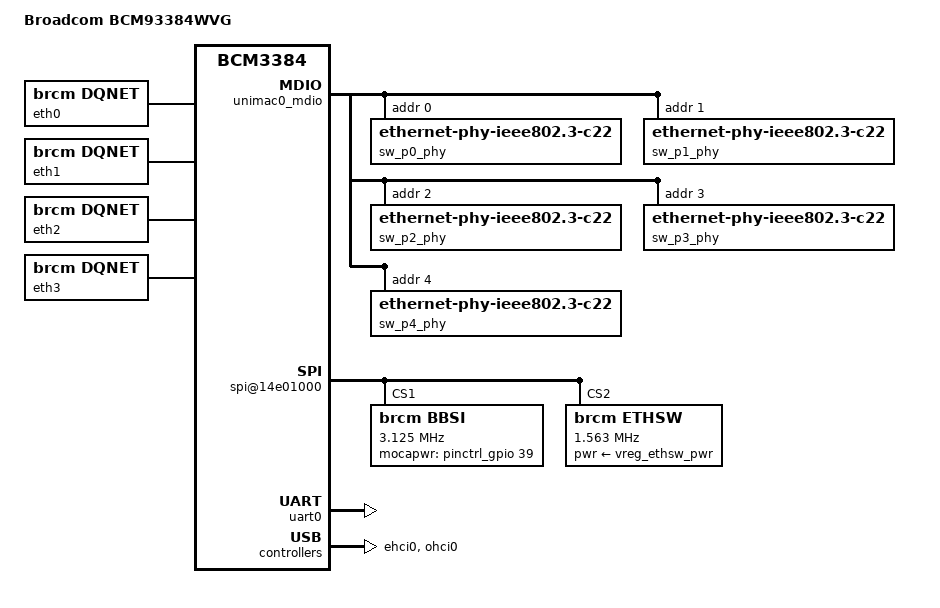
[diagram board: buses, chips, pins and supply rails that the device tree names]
/dts-v1/;

/include/ "bcm3384_zephyr.dtsi"

/ {
	compatible = "brcm,bcm93384wvg", "brcm,bcm3384";
	model = "Broadcom BCM93384WVG";
	subsystem = "rg_2nd_core";

	chosen {
		bootargs = "console=ttyS0,115200";
		stdout-path = &uart0;
	};
	board_id {
		product_name = "BCM93384PON";
	};
};

&uart0 {
	status = "okay";
};

&ehci0 {
	status = "okay";
};

&ohci0 {
	status = "okay";
};

/include/ "bcm3384pon_zephyr.dtsi"

/ {
	pinctrl_gpio: pinctrl_gpio@14e00100 {
		pinctrl-0 = <&slic_spi &wifi_pwr_ctrl
			     &mocapwr &bmoca_int &mocaflwctrl &pon_rgmii
			     &ethsw_mdio &ethsw_rgmii &ethsw_spi &ethsw_pwr_ctrl>;
		slic_spi: slic_spi {
			brcm,pins = <1>;
			brcm,function = <1>; /* SPIM_SS3_B for Si32392 */
		};
		mocapwr: mocapwr {
			brcm,pins = <39>;
			brcm,function = <5>; /* GPIO */
		};
		pon_rgmii: pon_rgmii {
			brcm,pins = <54 55 56 57 58 59 60 61 62 63 64 65>;
			brcm,function = <1>; /* RGMII1 */
		};
		ethsw_mdio: ethsw_mdio {
			brcm,pins = <66 67>;
			brcm,function = <1>; /* RGMII0_MDC/MDIO */
		};
		ethsw_rgmii: ethsw_rgmii {
			brcm,pins = <42 43 44 45 46 47 48 49 50 51 52 53>;
			brcm,function = <1>; /* RGMII0 */
		};
	};

	wifi_wps@0 {
		led0-gpio = <&pinctrl_gpio 6 1>;
		led1-gpio = <&pinctrl_gpio 7 1>;
	};

	unimac0: unimac@12c00000 {
		mbdma_channel0_rx_macid = <0>;
		mbdma_channel0_tx_macid = <0>;
		mbdma_channel1_rx_macid = <1>;
		mbdma_channel1_tx_macid = <1>;
		rgmii_id_mode_disable = <1>;
		tx_clk_dly = <4>;
		rx_clk_dly = <4>;
	};

	unimac1: unimac@12c02000 {
		rgmii_id_mode_disable = <0>;
		tx_clk_dly = <8>;
		rx_clk_dly = <8>;
	};

	gfap@13c00000 {
		switch_data_mac = <0x0>;
	};


	unimac0_mdio: mdio@12c00600 {
		compatible = "brcm,unimac-mdio";
		dev-name = "UniMAC MII bus";
		reg = <0x12c0062c 0x4>,
		      <0x12c00600 0x4>;
		use-external-phy;
		reg-names = "unimac0_mdio";
		#size-cells = <1>;
		#address-cells = <1>;
		/*
		 * Below are all possible phy's on the
		 * external switch chips supported. However, since the
		 * chips may or may not have the associated port & phy
		 * bonded out of the chip (i.e. the 53124 does not have
		 * port 0 bonded out) then they might not all be used.
		 * 53124 used sw_p1_phy..sw_p4_phy while 53134 uses
		 * sw_phy0_phy..sw_p3_phy.
		 */
		sw_p0_phy: phy@0 {
			compatible = "ethernet-phy-ieee802.3-c22";
			reg = <0>;
			phy-mode = "rgmii";
		};
		sw_p1_phy: phy@1 {
			compatible = "ethernet-phy-ieee802.3-c22";
			reg = <1>;
			phy-mode = "rgmii";
		};
		sw_p2_phy: phy@2 {
			compatible = "ethernet-phy-ieee802.3-c22";
			reg = <2>;
			phy-mode = "rgmii";
		};
		sw_p3_phy: phy@3 {
			compatible = "ethernet-phy-ieee802.3-c22";
			reg = <3>;
			phy-mode = "rgmii";
		};
		sw_p4_phy: phy@4 {
			compatible = "ethernet-phy-ieee802.3-c22";
			reg = <4>;
			phy-mode = "rgmii";
		};
	};

	spi@14e01000 {
		compatible = "brcm,bcm6328-hsspi";
		reg = <0x14e01000 0x7ff>,
		      <0x104b00fc 0x8>;
		interrupts = <5>;
		interrupt-parent = <&periph_intc>;
		clocks = <&hsspi_clock>;
		clock-names = "hsspi";
		#address-cells = <1>;
		#size-cells = <0>;

		bbsi@1  {
			reg = <1>;
			compatible = "brcm,bbsi";
			spi-max-frequency = <3125000>;
			spi-cpol = <1>;
			spi-cpha = <1>;

			/* 3rd value: 0=active_hi, 1=active_lo */
			mocapwr-gpio = <&pinctrl_gpio 39 0>;	/* MOCA Power */

			/*
			 * logical (active/inactive, not hi/lo) value, must be
			 * 1-1 with output-gpios.
			 */
			mocapwr-initval = < 1 >;		/* MOCA Power */
		};

		ethsw@2 {
			reg = <2>;
			compatible = "brcm,ethsw";
			spi-max-frequency = <1563000>;
			dev-name   = "ethsw";
			mii-port   = <5 0 1000>;/* the switch port 5 connects to MoCA */
			imp-port   = <8 1000>;
			eee-support = <1>;
			vlan-default-mode = <1>;
			pwr-supply = <&vreg_ethsw_pwr>;
			/*
			 * Below are references to all possible phy's on the
			 * external switch chips supported. However, since the
			 * chips may or may not have the associated port & phy
			 * bonded out of the chip (i.e. the 53124 does not have
			 * port 0 bonded out) then they might not all be used.
			 * 53124 used sw_p1_phy..sw_p4_phy while 53134 uses
			 * sw_phy0_phy..sw_p3_phy.
			 */
			phy-handles = <&sw_p0_phy>,
				      <&sw_p1_phy>,
				      <&sw_p2_phy>,
				      <&sw_p3_phy>,
				      <&sw_p4_phy>;
	        };
	};

	eth0: ethernet0 {
		compatible = "brcm,dqnet";
		channel = <&qchan0>;
		dev-name = "eth0";
		if-id = <0>;
		if-sub-id = <0>;
		demux = "arl";
		link-type = "switch";
	};

	eth1: ethernet1 {
		compatible = "brcm,dqnet";
		channel = <&qchan0>;
		dev-name = "eth1";
		if-id = <0>;
		if-sub-id = <1>;
		demux = "arl";
		link-type = "switch";
	};


	eth2: ethernet2 {
		compatible = "brcm,dqnet";
		channel = <&qchan0>;
		dev-name = "eth2";
		if-id = <0>;
		if-sub-id = <2>;
		demux = "arl";
		link-type = "switch";
	};

	eth3: ethernet3 {
		compatible = "brcm,dqnet";
		channel = <&qchan0>;
		dev-name = "eth3";
		if-id = <0>;
		if-sub-id = <3>;
		demux = "arl";
		link-type = "switch";
	};

	moca0: moca0 {
		if-sub-id = <4>;	/* 4: 53124, 5:53134. mii port 5 in 53124/53134 */
	};

	fixedpon0: fixedpon0 {
		mac-handle = <&unimac1>;
	};
};
